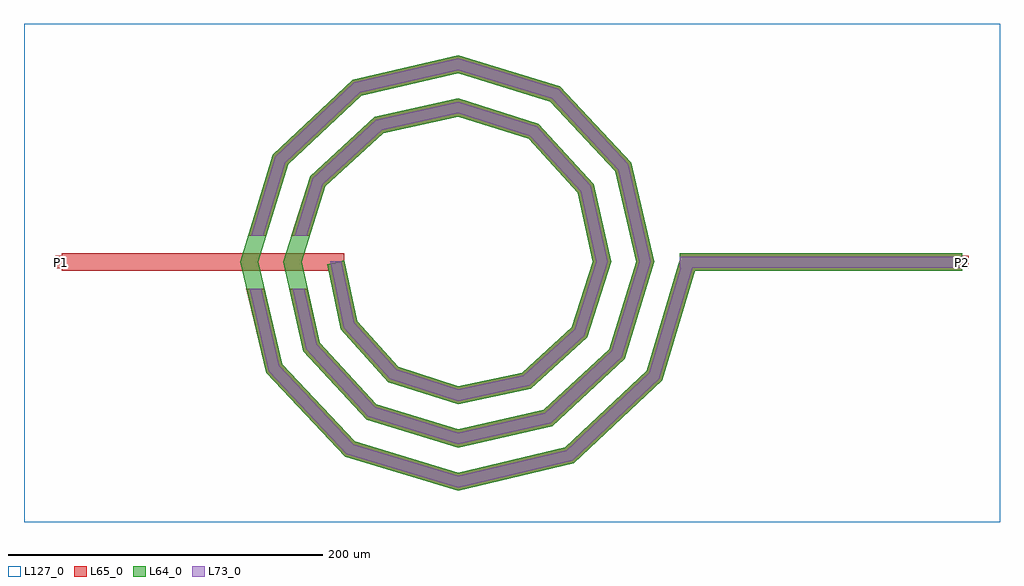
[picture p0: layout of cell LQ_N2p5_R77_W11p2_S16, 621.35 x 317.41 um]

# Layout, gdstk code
import gdstk
lib = gdstk.Library(unit=1e-6, precision=1e-09)
def R(c, l, rs):  # rectangles x0, y0, x1, y1
    for r in rs: c.add(gdstk.rectangle(r[:2], r[2:], *l))
def P(c, l, *ps):  # polygons
    for p in ps: c.add(gdstk.Polygon(p, *l))
L64_0 = (64, 0)
L65_0 = (65, 0)
L73_0 = (73, 0)
L127_0 = (127, 0)

lq_n2p5_r77_w11p2_s16 = lib.new_cell('LQ_N2p5_R77_W11p2_S16')
R(lq_n2p5_r77_w11p2_s16, L64_0, [(141.065,-5.6,321.065,5.6)])
P(lq_n2p5_r77_w11p2_s16, L64_0, [(-64.266,-37.461),(-38.079,-66.556),(0.292,-78.971),(40.878,-70.234),(72.5,-41.538),(85.848,0.27),(76.2,44.299),(44.994,78.446),(0.252,92.726),(-47.722,82.165),(-84.394,48.447),(-99.603,0.235),(-88.129,-51.147),(-51.899,-90.343),(0.221,-106.481),(54.574,-94.092),(96.292,-55.349),(113.359,0.208),(100.055,58.002),(58.798,102.243),(0.197,120.236),(-61.432,106.017),(-108.194,62.246),(-127.114,0.187),(-111.978,-64.862),(-65.694,-114.145),(0.177,-133.992),(68.293,-117.939),(120.097,-69.14),(141.301,1.608),(152.03,-1.608),(129.963,-75.233),(73.787,-128.151),(0.177,-145.583),(-71.801,-124.002),(-122.199,-70.34),(-138.704,0.187),(-118.041,68.37),(-66.892,116.247),(0.197,131.826),(64.94,112.079),(110.295,63.443),(124.947,0.208),(106.116,-61.511),(59.993,-104.345),(0.221,-118.069),(-58.083,-100.152),(-98.394,-56.542),(-111.19,0.235),(-94.188,54.657),(-53.089,92.445),(0.252,104.312),(51.232,88.222),(86.497,49.634),(97.433,0.27),(82.255,-47.81),(46.177,-80.55),(0.292,-90.554),(-44.391,-76.286),(-74.605,-42.716),(-83.364,-1.155),(-72.405,1.155)])
R(lq_n2p5_r77_w11p2_s16, L65_0, [(-252.284,-5.6,-72.284,5.6), (141.065,-5.6,321.065,5.6), (-256.284,-4,-248.284,4), (317.065,-4,325.065,4)])
P(lq_n2p5_r77_w11p2_s16, L65_0, [(-111.978,-64.862),(-65.694,-114.145),(0.177,-133.992),(68.294,-117.939),(120.097,-69.14),(141.301,1.608),(152.03,-1.608),(129.964,-75.233),(73.787,-128.151),(0.177,-145.583),(-71.801,-124.002),(-122.199,-70.34),(-134.729,-16.8),(-123.226,-16.8)],
  [(-88.129,-51.147),(-51.899,-90.343),(0.221,-106.481),(54.574,-94.092),(96.292,-55.349),(113.359,0.208),(100.055,58.002),(58.798,102.243),(0.197,120.236),(-61.432,106.017),(-108.194,62.246),(-121.966,16.8),(-133.669,16.8),(-118.041,68.37),(-66.892,116.247),(0.197,131.826),(64.94,112.079),(110.295,63.443),(124.947,0.208),(106.116,-61.511),(59.994,-104.345),(0.221,-118.069),(-58.083,-100.152),(-98.394,-56.542),(-107.351,-16.8),(-95.87,-16.8)],
  [(-38.079,-66.556),(0.292,-78.971),(40.878,-70.234),(72.5,-41.538),(85.849,0.27),(76.2,44.299),(44.994,78.446),(0.252,92.726),(-47.722,82.165),(-84.394,48.447),(-94.281,16.8),(-106.015,16.8),(-94.188,54.657),(-53.089,92.445),(0.252,104.312),(51.232,88.222),(86.497,49.634),(97.433,0.27),(82.255,-47.81),(46.177,-80.55),(0.292,-90.554),(-44.391,-76.286),(-74.605,-42.716),(-83.364,-1.155),(-72.405,1.155),(-64.266,-37.461)])
R(lq_n2p5_r77_w11p2_s16, L73_0, [(141.065,-3.6,321.065,3.6)])
P(lq_n2p5_r77_w11p2_s16, L73_0, [(-113.803,-65.84),(-66.784,-115.906),(0.114,-136.062),(69.274,-119.762),(121.859,-70.228),(143.217,1.034),(150.114,-1.034),(128.202,-74.145),(72.806,-126.327),(0.114,-143.513),(-70.71,-122.242),(-120.374,-69.362),(-132.675,-16.8),(-125.28,-16.8)],
  [(-89.962,-52.111),(-53.003,-92.094),(0.142,-108.55),(55.542,-95.923),(98.046,-56.45),(115.428,0.134),(101.884,58.974),(59.895,103.999),(0.127,122.306),(-62.407,107.843),(-109.952,63.34),(-124.056,16.8),(-131.58,16.8),(-116.282,67.277),(-65.917,114.42),(0.127,129.756),(63.843,110.322),(108.467,62.472),(122.878,0.134),(104.362,-60.411),(59.026,-102.514),(0.142,-116),(-56.979,-98.401),(-96.561,-55.579),(-105.301,-16.8),(-97.92,-16.8)],
  [(-39.206,-68.294),(0.188,-81.04),(41.825,-72.076),(74.242,-42.658),(87.917,0.174),(78.039,45.252),(46.108,80.192),(0.162,94.795),(-48.681,84.001),(-86.143,49.556),(-96.377,16.8),(-103.92,16.8),(-92.439,53.548),(-52.131,90.61),(0.162,102.243),(50.118,86.476),(84.658,48.682),(95.364,0.174),(80.513,-46.69),(45.231,-78.708),(0.188,-88.485),(-43.264,-74.548),(-72.759,-41.778),(-81.407,0.742),(-74.362,0.742),(-66.112,-38.399)])
R(lq_n2p5_r77_w11p2_s16, L127_0, [(-276.284,-165.583,345.065,151.826)])
lq_n2p5_r77_w11p2_s16.add(gdstk.Label('P2', (321.065,0), layer=65, texttype=0))
lq_n2p5_r77_w11p2_s16.add(gdstk.Label('P1', (-252.284,0), layer=65, texttype=0))
lq_n2p5_r77_w11p2_s16.add(gdstk.Label('P2', (325.065,0), layer=145, texttype=0))
lq_n2p5_r77_w11p2_s16.add(gdstk.Label('P1', (-256.284,0), layer=145, texttype=0))

lib.write_gds('LQ_N2p5_R77_W11p2_S16.gds')
